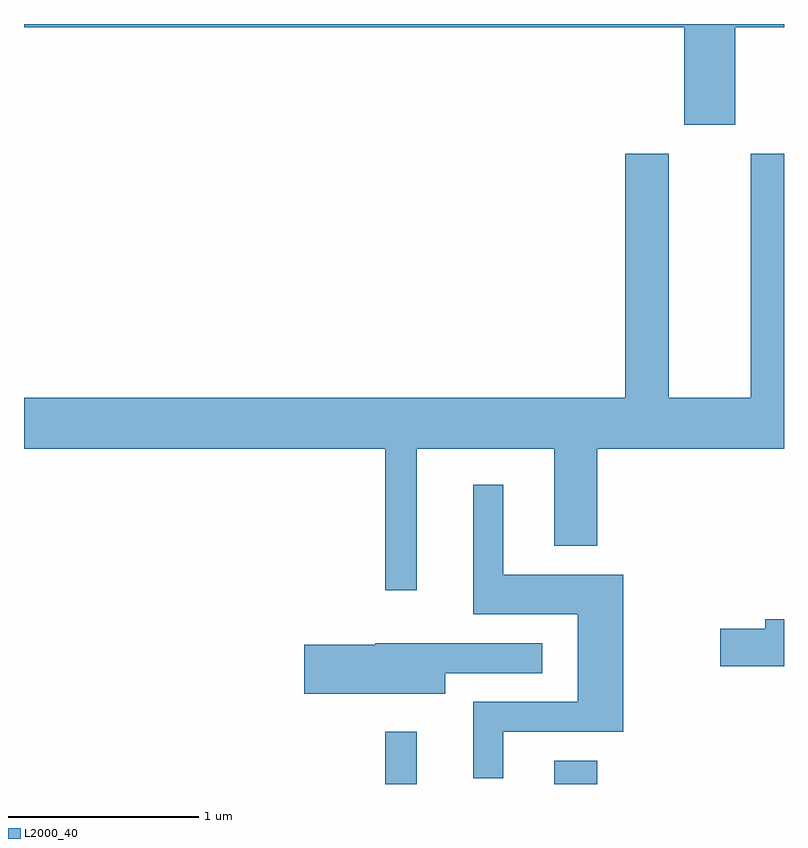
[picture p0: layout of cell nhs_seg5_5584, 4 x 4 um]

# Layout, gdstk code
import gdstk
lib = gdstk.Library(unit=1e-6, precision=1e-09)
def R(c, l, rs):  # rectangles x0, y0, x1, y1
    for r in rs: c.add(gdstk.rectangle(r[:2], r[2:], *l))
def P(c, l, *ps):  # polygons
    for p in ps: c.add(gdstk.Polygon(p, *l))
L2000_40 = (2000, 40)

nhs_seg5_5584 = lib.new_cell('nhs_seg5_5584')
R(nhs_seg5_5584, L2000_40, [(351.511,1526.072,351.679,1526.348), (352.401,1526.072,352.629,1526.194)])
P(nhs_seg5_5584, L2000_40, [(353.354,1530.056),(353.611,1530.056),(353.611,1530.072),(349.611,1530.072),(349.611,1530.056),(353.086,1530.056),(353.086,1529.541),(353.354,1529.541)],
  [(351.679,1527.836),(352.401,1527.836),(352.401,1527.326),(352.629,1527.326),(352.629,1527.836),(353.611,1527.836),(353.611,1529.389),(353.436,1529.389),(353.436,1528.104),(353.004,1528.104),(353.004,1529.389),(352.776,1529.389),(352.776,1528.104),(349.611,1528.104),(349.611,1527.836),(351.511,1527.836),(351.511,1527.093),(351.679,1527.093)],
  [(352.134,1526.346),(352.764,1526.346),(352.764,1527.174),(352.134,1527.174),(352.134,1527.648),(351.976,1527.648),(351.976,1526.966),(352.526,1526.966),(352.526,1526.504),(351.976,1526.504),(351.976,1526.103),(352.134,1526.103)],
  [(353.611,1526.939),(353.511,1526.939),(353.511,1526.889),(353.276,1526.889),(353.276,1526.691),(353.611,1526.691)],
  [(351.829,1526.656),(352.338,1526.656),(352.338,1526.814),(351.46,1526.814),(351.46,1526.804),(351.086,1526.804),(351.086,1526.546),(351.829,1526.546)])

lib.write_gds('nhs_seg5_5584.gds')
